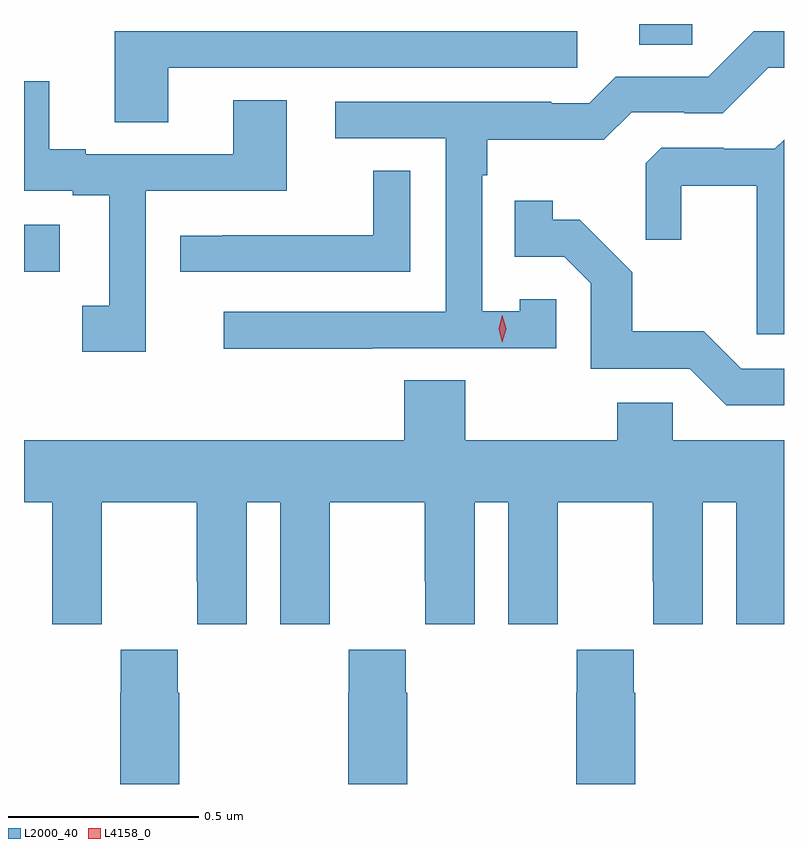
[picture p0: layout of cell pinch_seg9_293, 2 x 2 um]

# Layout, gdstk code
import gdstk
lib = gdstk.Library(unit=1e-6, precision=1e-09)
def R(c, l, rs):  # rectangles x0, y0, x1, y1
    for r in rs: c.add(gdstk.rectangle(r[:2], r[2:], *l))
def P(c, l, *ps):  # polygons
    for p in ps: c.add(gdstk.Polygon(p, *l))
L2000_40 = (2000, 40)
L4158_0 = (4158, 0)

pinch_seg9_293 = lib.new_cell('pinch_seg9_293')
R(pinch_seg9_293, L2000_40, [(478.374,1195.695,478.468,1195.819), (479.993,1196.293,480.132,1196.347)])
P(pinch_seg9_293, L2000_40, [(478.753,1196.232),(479.83,1196.232),(479.83,1196.328),(478.613,1196.328),(478.613,1196.089),(478.753,1196.089)],
  [(479.291,1195.494),(479.775,1195.494),(479.775,1195.623),(479.679,1195.623),(479.679,1195.591),(479.58,1195.591),(479.58,1195.949),(479.593,1195.949),(479.593,1196.042),(479.9,1196.042),(479.973,1196.115),(480.112,1196.115),(480.112,1196.112),(480.213,1196.112),(480.333,1196.232),(480.374,1196.232),(480.374,1196.328),(480.294,1196.328),(480.174,1196.208),(479.931,1196.208),(479.862,1196.139),(479.762,1196.139),(479.762,1196.142),(479.193,1196.142),(479.193,1196.046),(479.484,1196.046),(479.484,1195.59),(478.899,1195.59),(478.899,1195.492),(479.291,1195.492)],
  [(478.695,1195.908),(479.065,1195.908),(479.065,1196.147),(478.925,1196.147),(478.925,1196.004),(478.537,1196.004),(478.537,1196.017),(478.441,1196.017),(478.441,1196.197),(478.374,1196.197),(478.374,1195.908),(478.502,1195.908),(478.502,1195.896),(478.598,1195.896),(478.598,1195.605),(478.527,1195.605),(478.527,1195.485),(478.695,1195.485)],
  [(480.374,1196.043),(480.35,1196.019),(480.216,1196.019),(480.216,1196.022),(480.051,1196.022),(480.01,1195.981),(480.01,1195.779),(480.104,1195.779),(480.104,1195.922),(480.302,1195.922),(480.302,1195.53),(480.374,1195.53)],
  [(479.391,1195.961),(479.293,1195.961),(479.293,1195.791),(478.897,1195.791),(478.897,1195.79),(478.785,1195.79),(478.785,1195.695),(479.391,1195.695)],
  [(480.374,1195.44),(480.261,1195.44),(480.163,1195.539),(479.974,1195.539),(479.974,1195.694),(479.836,1195.832),(479.766,1195.832),(479.766,1195.882),(479.665,1195.882),(479.665,1195.734),(479.796,1195.734),(479.865,1195.665),(479.865,1195.44),(480.126,1195.44),(480.222,1195.344),(480.374,1195.344)],
  [(478.374,1195.088),(478.448,1195.088),(478.448,1194.768),(478.578,1194.768),(478.578,1194.88),(478.579,1194.88),(478.579,1195.088),(478.829,1195.088),(478.829,1194.88),(478.83,1194.88),(478.83,1194.768),(478.96,1194.768),(478.96,1195.088),(479.048,1195.088),(479.048,1194.768),(479.178,1194.768),(479.178,1194.88),(479.179,1194.88),(479.179,1195.088),(479.429,1195.088),(479.429,1194.88),(479.43,1194.88),(479.43,1194.768),(479.56,1194.768),(479.56,1195.088),(479.648,1195.088),(479.648,1194.768),(479.778,1194.768),(479.778,1194.88),(479.779,1194.88),(479.779,1195.088),(480.029,1195.088),(480.029,1194.88),(480.03,1194.88),(480.03,1194.768),(480.16,1194.768),(480.16,1195.088),(480.248,1195.088),(480.248,1194.768),(480.374,1194.768),(480.374,1195.252),(480.081,1195.252),(480.081,1195.35),(479.935,1195.35),(479.935,1195.252),(479.535,1195.252),(479.535,1195.409),(479.375,1195.409),(479.375,1195.252),(478.374,1195.252)],
  [(478.782,1194.587),(478.779,1194.587),(478.779,1194.7),(478.629,1194.7),(478.629,1194.587),(478.627,1194.587),(478.627,1194.347),(478.782,1194.347)],
  [(479.382,1194.587),(479.379,1194.587),(479.379,1194.7),(479.229,1194.7),(479.229,1194.587),(479.227,1194.587),(479.227,1194.347),(479.382,1194.347)],
  [(479.982,1194.587),(479.979,1194.587),(479.979,1194.7),(479.829,1194.7),(479.829,1194.587),(479.827,1194.587),(479.827,1194.347),(479.982,1194.347)])
P(pinch_seg9_293, L4158_0, [(479.633,1195.509),(479.633,1195.51),(479.623,1195.545),(479.633,1195.581),(479.633,1195.581),(479.633,1195.581),(479.643,1195.545),(479.633,1195.51)])

lib.write_gds('pinch_seg9_293.gds')
